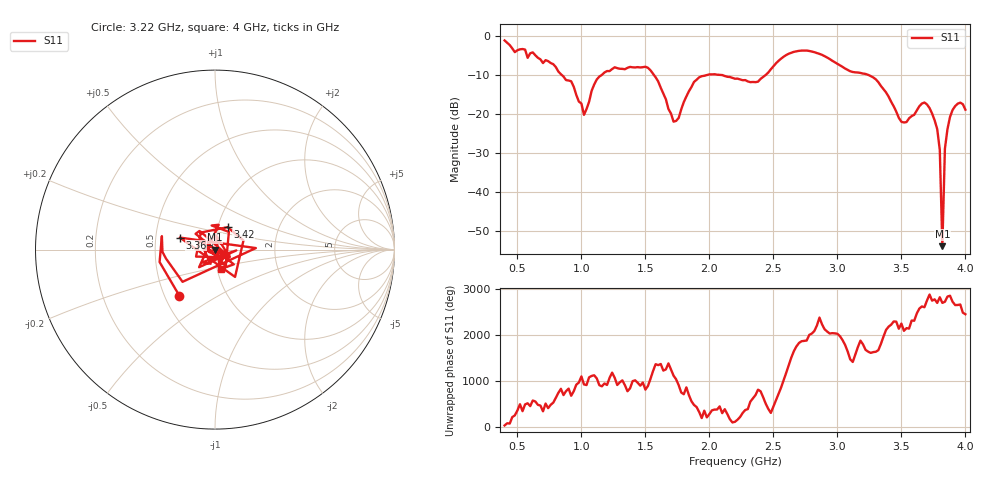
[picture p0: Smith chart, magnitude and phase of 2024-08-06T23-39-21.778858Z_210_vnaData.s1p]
!Created with skrf (http://scikit-rf.org).
# Hz S RI R 50.0
!freq ReS11 ImS11
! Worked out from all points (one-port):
!   181 points, 400 MHz to 4 GHz, reference 50 ohm
!   lowest |S11| = -53.9 dB at 3.82 GHz (marker M1), VSWR 1.00, Z = 49.8 + j0.0152 ohm
!   |S11| at or under -10 dB: 1.566 GHz to 1.986 GHz (419.3 MHz wide, 23.6 % of centre); 2.077 GHz to 2.441 GHz (363.6 MHz wide, 16.1 % of centre); 3.24 GHz to end of sweep (the widest 3 of 4)
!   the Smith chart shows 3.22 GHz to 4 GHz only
!   S11 on the Smith chart (normalised r, x): 3.22 GHz: 0.60, -0.34; 3.36 GHz: 0.67, +0.09; 3.42 GHz: 1.11, +0.28; 4 GHz: 1.05, -0.23
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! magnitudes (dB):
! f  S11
! 400 MHz  -1.2
! 860 MHz  -10.4
! 920 MHz  -11.6
! 1.02 GHz  -20.2
! 1.12 GHz  -11.2
! 1.3 GHz  -8.4
! 1.52 GHz  -8.2
! 1.6 GHz  -11.7
! 1.72 GHz  -22.0
! 1.76 GHz  -21.0
! 1.92 GHz  -10.6
! 2.2 GHz  -11.0
! 2.38 GHz  -11.7
! 2.66 GHz  -4.1
! 3.1 GHz  -9.1
! 3.22 GHz  -9.8
! 3.36 GHz  -13.7
! 3.42 GHz  -16.9
! 3.5 GHz  -22.0
! 3.56 GHz  -21.1
! 3.68 GHz  -17.1
! 3.78 GHz  -23.9
! 3.8 GHz  -29.2
! 3.82 GHz  -53.9
! 3.84 GHz  -28.9
! 3.86 GHz  -23.9
! 3.92 GHz  -18.0
! 4 GHz  -18.9
